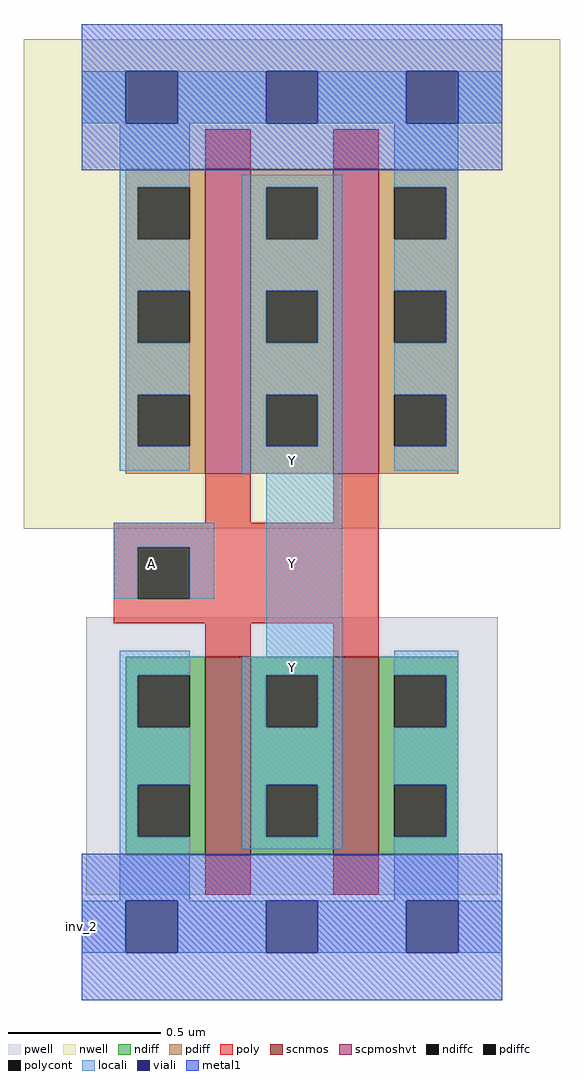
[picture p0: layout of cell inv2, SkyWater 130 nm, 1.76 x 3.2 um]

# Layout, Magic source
magic
tech sky130B
magscale 1 2
<< nwell >>
rect 0 269 352 590
<< pwell >>
rect 41 29 311 211
<< scnmos >>
rect 119 55 149 185
rect 203 55 233 185
<< scpmoshvt >>
rect 119 305 149 505
rect 203 305 233 505
<< ndiff >>
rect 67 173 119 185
rect 67 139 75 173
rect 109 139 119 173
rect 67 101 119 139
rect 67 67 75 101
rect 109 67 119 101
rect 67 55 119 67
rect 149 173 203 185
rect 149 139 159 173
rect 193 139 203 173
rect 149 101 203 139
rect 149 67 159 101
rect 193 67 203 101
rect 149 55 203 67
rect 233 173 285 185
rect 233 139 243 173
rect 277 139 285 173
rect 233 101 285 139
rect 233 67 243 101
rect 277 67 285 101
rect 233 55 285 67
<< pdiff >>
rect 67 493 119 505
rect 67 459 75 493
rect 109 459 119 493
rect 67 425 119 459
rect 67 391 75 425
rect 109 391 119 425
rect 67 357 119 391
rect 67 323 75 357
rect 109 323 119 357
rect 67 305 119 323
rect 149 493 203 505
rect 149 459 159 493
rect 193 459 203 493
rect 149 425 203 459
rect 149 391 159 425
rect 193 391 203 425
rect 149 357 203 391
rect 149 323 159 357
rect 193 323 203 357
rect 149 305 203 323
rect 233 493 285 505
rect 233 459 243 493
rect 277 459 285 493
rect 233 425 285 459
rect 233 391 243 425
rect 277 391 285 425
rect 233 357 285 391
rect 233 323 243 357
rect 277 323 285 357
rect 233 305 285 323
<< ndiffc >>
rect 75 139 109 173
rect 75 67 109 101
rect 159 139 193 173
rect 159 67 193 101
rect 243 139 277 173
rect 243 67 277 101
<< pdiffc >>
rect 75 459 109 493
rect 75 391 109 425
rect 75 323 109 357
rect 159 459 193 493
rect 159 391 193 425
rect 159 323 193 357
rect 243 459 277 493
rect 243 391 277 425
rect 243 323 277 357
<< poly >>
rect 119 505 149 531
rect 203 505 233 531
rect 119 273 149 305
rect 203 273 233 305
rect 59 257 233 273
rect 59 223 75 257
rect 109 223 233 257
rect 59 207 233 223
rect 119 185 149 207
rect 203 185 233 207
rect 119 29 149 55
rect 203 29 233 55
<< polycont >>
rect 75 223 109 257
<< locali >>
rect 38 535 67 569
rect 101 535 159 569
rect 193 535 251 569
rect 285 535 314 569
rect 63 493 109 535
rect 63 459 75 493
rect 63 425 109 459
rect 63 391 75 425
rect 63 357 109 391
rect 63 323 75 357
rect 63 307 109 323
rect 143 493 209 501
rect 143 459 159 493
rect 193 459 209 493
rect 143 425 209 459
rect 143 391 159 425
rect 193 391 209 425
rect 143 357 209 391
rect 143 323 159 357
rect 193 323 209 357
rect 143 305 209 323
rect 243 493 285 535
rect 277 459 285 493
rect 243 425 285 459
rect 277 391 285 425
rect 243 357 285 391
rect 277 323 285 357
rect 243 307 285 323
rect 59 257 125 273
rect 59 223 75 257
rect 109 223 125 257
rect 63 173 109 189
rect 159 185 209 305
rect 63 139 75 173
rect 63 101 109 139
rect 63 67 75 101
rect 63 25 109 67
rect 143 173 209 185
rect 143 139 159 173
rect 193 139 209 173
rect 143 101 209 139
rect 143 67 159 101
rect 193 67 209 101
rect 143 59 209 67
rect 243 173 285 189
rect 277 139 285 173
rect 243 101 285 139
rect 277 67 285 101
rect 243 25 285 67
rect 38 -9 67 25
rect 101 -9 159 25
rect 193 -9 251 25
rect 285 -9 314 25
<< viali >>
rect 67 535 101 569
rect 159 535 193 569
rect 251 535 285 569
rect 67 -9 101 25
rect 159 -9 193 25
rect 251 -9 285 25
<< metal1 >>
rect 38 569 314 600
rect 38 535 67 569
rect 101 535 159 569
rect 193 535 251 569
rect 285 535 314 569
rect 38 504 314 535
rect 38 25 314 56
rect 38 -9 67 25
rect 101 -9 159 25
rect 193 -9 251 25
rect 285 -9 314 25
rect 38 -40 314 -9
<< labels >>
rlabel comment s 38 8 38 8 4 inv_2
flabel comment s 84 246 84 246 0 FreeSans 340 0 0 0 A
flabel comment s 176 178 176 178 0 FreeSans 340 0 0 0 Y
flabel comment s 176 314 176 314 0 FreeSans 340 0 0 0 Y
flabel comment s 176 246 176 246 0 FreeSans 340 0 0 0 Y
<< properties >>
string FIXED_BBOX 38 8 314 552
string path 0.950 0.200 7.850 0.200 
<< end >>
